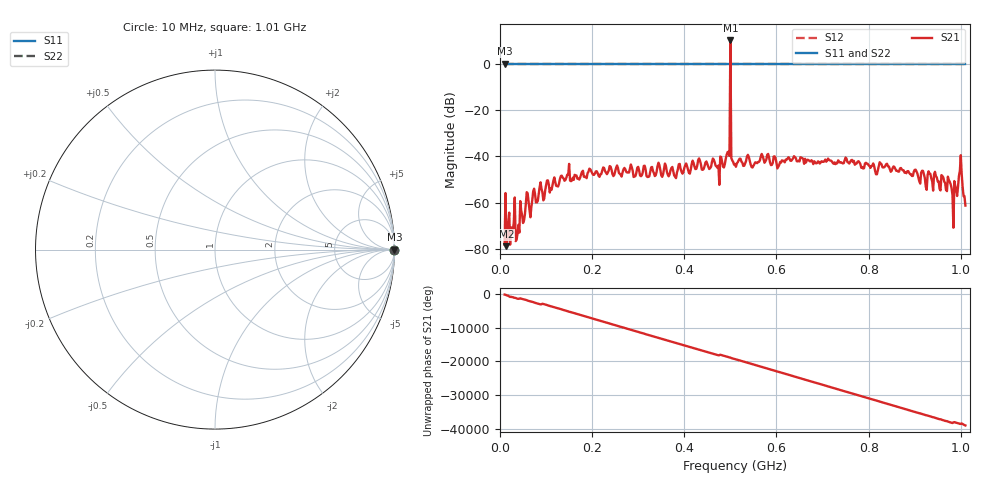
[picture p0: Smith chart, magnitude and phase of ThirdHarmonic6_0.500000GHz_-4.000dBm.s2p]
! 8/15/2025 3:00:22 PM
! C:\ANRITSUVNA\TEMP\TEMP.S2P
! CHANNEL.1
! TR.MEASUREMENT
! RAW.DATA
! RF.CORRECTION.OFF
! AVERAGING.OFF
! IF.BANDWIDTH: 5KHZ
! SWEEPTYPE:  FREQ.SWEEP(Linear)
! Reference Plane Port Info
! PORT:  PORT1  PORT2
! DISTANCE:  0  m  0  m
! TIME:  0  s  0  s
! PHASE.OFFSET:  0  deg.  0  deg.
! LOSS:  0  dB  0  dB
! REF.LOSS:  0  dB  0  dB
! REF.FREQ:  0  Hz  0  Hz
! Power Info
! POWER:  -20  dBm  -20  dBm
! EFF.POWER:  -20  dBm  -20  dBm
! SOURCE.ATTEN:  0  dB  0  dB
! TEST.ATTEN:  0  dB  0  dB
# GHZ S RI R 50.0
! FREQ.GHZ  S11RE  S11IM  S21RE  S21IM  S12RE  S12IM  S22RE  S22IM
!; PortSelection: Port_12
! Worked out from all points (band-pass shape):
!   501 points, 10 MHz to 1.01 GHz, reference 50 ohm
!   highest |S21| = 10.01 dB at 500 MHz (marker M1); lowest = -78.8 dB at 14 MHz (marker M2)
!   |S21| within 3 dB of the highest: 499.8797 MHz to 500.1181 MHz (238.4 kHz wide, 0.0477 % of centre)
!   lowest |S11| = 0.0 dB at 10 MHz (marker M3)
!   |S11| at or under -10 dB: nowhere
!   |S22| runs from 0.0 to 0.0 dB; largest |S21 - S12| = 3.9
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0.01  1 0  -1.63e-05 -0.000121  1 0  1 0
0.014  1 0  6.7e-05 9.26e-05  1 0  1 0
0.028  1 0  -0.00024 -8.6e-05  1 0  1 0
0.038  1 0  3.1e-06 0.000211  1 0  1 0
0.058  1 0  0.00147 0.000793  1 0  1 0
0.066  1 0  0.000436 0.000203  1 0  1 0
0.088  1 0  -0.00232 -0.00145  1 0  1 0
0.178  1 0  -0.00448 0.00106  1 0  1 0
0.344  1 0  0.00626 -0.00368  1 0  1 0
0.472  1 0  -0.00237 -0.00509  1 0  1 0
0.494  1 0  0.00467 0.0114  1 0  1 0
0.496  1 0  0.0115 -0.0048  1 0  1 0
0.5  1 0  -1.971 -2.478  1 0  1 0
0.504  1 0  0.00815 1.99e-05  1 0  1 0
0.506  1 0  0.00111 -0.00745  1 0  1 0
0.51  1 0  -0.00561 0.00388  1 0  1 0
0.678  1 0  -0.00728 -0.00259  1 0  1 0
0.844  1 0  0.0056 -0.00217  1 0  1 0
0.962  1 0  0.000422 -0.00347  1 0  1 0
0.988  1 0  0.00219 -0.000665  1 0  1 0
1  1 0  0.00418 -0.00965  1 0  1 0
1.01  1 0  -0.000851 0.000119  1 0  1 0
